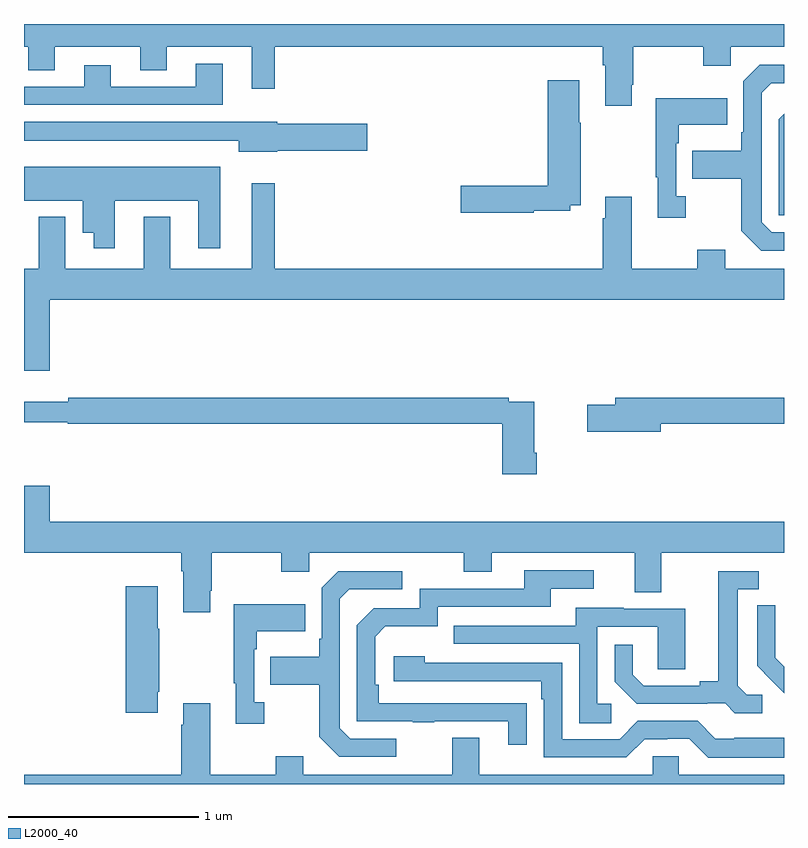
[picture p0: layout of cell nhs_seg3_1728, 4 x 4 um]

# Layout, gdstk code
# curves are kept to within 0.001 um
import gdstk
lib = gdstk.Library(unit=1e-6, precision=1e-09)
def P(c, l, *ps):  # polygons
    for p in ps: c.add(gdstk.Polygon(p, *l))
L2000_40 = (2000, 40)

nhs_seg3_1728 = lib.new_cell('nhs_seg3_1728')
P(nhs_seg3_1728, L2000_40, [(204.199,670.081),(204.207,670.081),(204.207,670.28),(204.574,670.28),(204.574,670.181),(204.72,670.181),(204.72,670.28),(205,670.28),(205,670.4),(201,670.4),(201,670.28),(201.023,670.28),(201.023,670.156),(201.163,670.156),(201.163,670.28),(201.611,670.28),(201.611,670.156),(201.751,670.156),(201.751,670.28),(202.199,670.28),(202.199,670.059),(202.321,670.059),(202.321,670.28),(204.047,670.28),(204.047,670.184),(204.059,670.184),(204.059,669.969),(204.199,669.969)],
  [(202.045,670.192),(201.905,670.192),(201.905,670.071),(201.457,670.071),(201.457,670.183),(201.317,670.183),(201.317,670.071),(201,670.071),(201,669.975),(202.045,669.975)],
  [(205,669.303),(204.936,669.303),(204.882,669.357),(204.882,670.038),(204.933,670.089),(205,670.089),(205,670.185),(204.873,670.185),(204.786,670.098),(204.786,669.829),(204.774,669.829),(204.774,669.733),(204.517,669.733),(204.517,669.586),(204.774,669.586),(204.774,669.313),(204.879,669.207),(205,669.207)],
  [(203.682,669.418),(203.874,669.418),(203.874,669.446),(203.931,669.446),(203.931,669.881),(203.923,669.881),(203.923,670.105),(203.756,670.105),(203.756,669.548),(203.298,669.548),(203.298,669.406),(203.682,669.406)],
  [(204.484,669.494),(204.432,669.494),(204.432,669.773),(204.445,669.773),(204.445,669.869),(204.701,669.869),(204.701,670.009),(204.324,670.009),(204.324,669.593),(204.335,669.593),(204.335,669.381),(204.484,669.381)],
  [(205,669.928),(204.972,669.9),(204.972,669.393),(205,669.393)],
  [(202.332,669.734),(202.807,669.734),(202.807,669.876),(202.332,669.876),(202.332,669.886),(201,669.886),(201,669.785),(202.13,669.785),(202.13,669.728),(202.332,669.728)],
  [(201.478,669.47),(201.917,669.47),(201.917,669.219),(202.033,669.219),(202.033,669.649),(201,669.649),(201,669.47),(201.308,669.47),(201.308,669.302),(201.368,669.302),(201.368,669.219),(201.478,669.219)],
  [(201.136,668.948),(205,668.948),(205,669.112),(204.691,669.112),(204.691,669.211),(204.544,669.211),(204.544,669.112),(204.199,669.112),(204.199,669.49),(204.059,669.49),(204.059,669.377),(204.047,669.377),(204.047,669.112),(202.321,669.112),(202.321,669.562),(202.199,669.562),(202.199,669.112),(201.769,669.112),(201.769,669.385),(201.629,669.385),(201.629,669.112),(201.217,669.112),(201.217,669.385),(201.077,669.385),(201.077,669.112),(201,669.112),(201,668.574),(201.136,668.574)],
  [(203.699,668.143),(203.686,668.143),(203.686,668.412),(203.552,668.412),(203.552,668.432),(201.232,668.432),(201.232,668.413),(201,668.413),(201,668.304),(201.23,668.304),(201.23,668.296),(203.516,668.296),(203.516,668.031),(203.699,668.031)],
  [(204.352,668.296),(205,668.296),(205,668.432),(204.113,668.432),(204.113,668.396),(203.964,668.396),(203.964,668.254),(204.352,668.254)],
  [(201.979,667.417),(201.987,667.417),(201.987,667.616),(202.354,667.616),(202.354,667.517),(202.5,667.517),(202.5,667.616),(203.314,667.616),(203.314,667.517),(203.461,667.517),(203.461,667.616),(204.215,667.616),(204.215,667.408),(204.355,667.408),(204.355,667.616),(205,667.616),(205,667.78),(201.136,667.78),(201.136,667.969),(201,667.969),(201,667.616),(201.827,667.616),(201.827,667.52),(201.839,667.52),(201.839,667.305),(201.979,667.305)],
  [(203.645,666.824),(202.868,666.825),(202.868,666.922),(202.848,666.922),(202.848,667.176),(202.901,667.229),(203.178,667.229),(203.178,667.332),(203.773,667.332),(203.773,667.428),(203.998,667.428),(203.998,667.524),(203.633,667.524),(203.633,667.428),(203.082,667.428),(203.082,667.326),(202.842,667.326),(202.752,667.236),(202.752,666.729),(203.047,666.729),(203.047,666.724),(203.159,666.724),(203.159,666.729),(203.549,666.729),(203.549,666.606),(203.645,666.606)],
  [(204.886,666.87),(204.804,666.87),(204.757,666.917),(204.757,667.425),(204.868,667.425),(204.868,667.521),(204.653,667.521),(204.653,666.941),(204.557,666.941),(204.557,666.918),(204.262,666.918),(204.205,666.975),(204.205,667.132),(204.108,667.132),(204.108,666.938),(204.224,666.822),(204.596,666.822),(204.596,666.825),(204.69,666.825),(204.742,666.773),(204.886,666.773)],
  [(202.96,666.639),(202.716,666.639),(202.662,666.693),(202.662,667.374),(202.713,667.425),(202.99,667.425),(202.99,667.521),(202.653,667.521),(202.566,667.434),(202.566,667.165),(202.554,667.165),(202.554,667.069),(202.297,667.069),(202.297,666.922),(202.554,666.922),(202.554,666.649),(202.659,666.543),(202.96,666.543)],
  [(201.703,666.886),(201.711,666.886),(201.711,667.217),(201.703,667.217),(201.703,667.441),(201.536,667.441),(201.536,666.774),(201.703,666.774)],
  [(202.264,666.83),(202.212,666.83),(202.212,667.109),(202.225,667.109),(202.225,667.205),(202.481,667.205),(202.481,667.345),(202.104,667.345),(202.104,666.929),(202.115,666.929),(202.115,666.717),(202.264,666.717)],
  [(205,667.016),(204.953,667.064),(204.953,667.186),(204.954,667.186),(204.954,667.34),(204.858,667.34),(204.858,667.022),(204.931,666.949),(204.93,666.948),(205,666.878)],
  [(204.091,666.822),(204.018,666.822),(204.018,667.227),(204.336,667.227),(204.336,667.003),(204.481,667.003),(204.481,667.323),(204.157,667.323),(204.157,667.327),(203.903,667.327),(203.903,667.233),(203.263,667.233),(203.263,667.137),(203.922,667.137),(203.922,666.721),(204.091,666.721)],
  [(205,666.643),(204.739,666.643),(204.739,666.639),(204.639,666.639),(204.546,666.732),(204.231,666.732),(204.135,666.636),(203.832,666.636),(203.832,667.038),(203.108,667.038),(203.108,667.072),(202.947,667.072),(202.947,666.942),(203.723,666.942),(203.723,666.845),(203.736,666.845),(203.736,666.54),(204.171,666.54),(204.267,666.636),(204.386,666.636),(204.386,666.639),(204.501,666.639),(204.601,666.539),(205,666.539)],
  [(205,666.448),(204.447,666.448),(204.447,666.546),(204.309,666.546),(204.309,666.448),(203.395,666.448),(203.395,666.643),(203.255,666.643),(203.255,666.448),(202.471,666.448),(202.471,666.547),(202.324,666.547),(202.324,666.448),(201.979,666.448),(201.979,666.826),(201.839,666.826),(201.839,666.713),(201.827,666.713),(201.827,666.448),(201,666.448),(201,666.4),(205,666.4)])

lib.write_gds('nhs_seg3_1728.gds')
